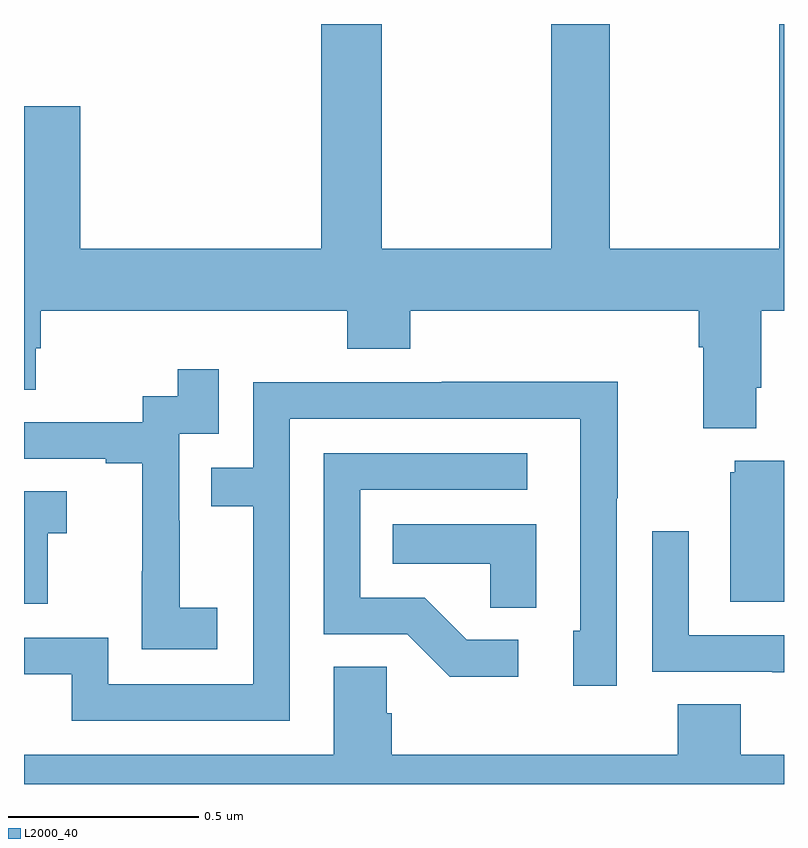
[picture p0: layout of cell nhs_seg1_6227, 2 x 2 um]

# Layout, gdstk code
import gdstk
lib = gdstk.Library(unit=1e-6, precision=1e-09)
def P(c, l, *ps):  # polygons
    for p in ps: c.add(gdstk.Polygon(p, *l))
L2000_40 = (2000, 40)

nhs_seg1_6227 = lib.new_cell('nhs_seg1_6227')
P(nhs_seg1_6227, L2000_40, [(190.927,506.242),(190.94,506.242),(190.94,506.444),(191,506.444),(191,507.199),(190.987,507.199),(190.987,506.608),(190.542,506.608),(190.542,507.199),(190.387,507.199),(190.387,506.608),(189.942,506.608),(189.942,507.199),(189.782,507.199),(189.782,506.608),(189.148,506.608),(189.148,506.983),(189,506.983),(189,506.236),(189.031,506.236),(189.031,506.346),(189.044,506.346),(189.044,506.444),(189.851,506.444),(189.851,506.345),(190.016,506.345),(190.016,506.444),(190.775,506.444),(190.775,506.348),(190.787,506.348),(190.787,506.135),(190.927,506.135)],
  [(189.508,505.663),(189.41,505.663),(189.41,505.892),(189.408,505.892),(189.408,506.121),(189.513,506.121),(189.513,506.29),(189.405,506.29),(189.405,506.22),(189.312,506.22),(189.312,506.151),(189,506.151),(189,506.055),(189.215,506.055),(189.215,506.043),(189.311,506.043),(189.311,505.759),(189.31,505.759),(189.31,505.553),(189.508,505.553)],
  [(189.699,506.16),(190.464,506.16),(190.464,505.602),(190.445,505.602),(190.445,505.458),(190.56,505.458),(190.56,505.951),(190.563,505.951),(190.563,506.258),(190.099,506.258),(190.099,506.256),(189.603,506.256),(189.603,506.031),(189.493,506.031),(189.493,505.93),(189.603,505.93),(189.603,505.461),(189.222,505.461),(189.222,505.584),(189,505.584),(189,505.488),(189.125,505.488),(189.125,505.365),(189.699,505.365)],
  [(190.3,505.578),(190.165,505.578),(190.054,505.689),(189.885,505.689),(189.885,505.974),(190.324,505.974),(190.324,506.07),(189.789,506.07),(189.789,505.593),(190.008,505.593),(190.121,505.481),(190.3,505.481)],
  [(191,506.05),(190.871,506.05),(190.871,506.019),(190.859,506.019),(190.859,505.679),(191,505.679)],
  [(189.063,505.859),(189.112,505.859),(189.112,505.969),(189,505.969),(189,505.674),(189.063,505.674)],
  [(190.348,505.882),(189.97,505.882),(189.97,505.778),(190.227,505.778),(190.227,505.663),(190.348,505.663)],
  [(191,505.59),(190.749,505.59),(190.749,505.864),(190.653,505.864),(190.653,505.494),(190.969,505.494),(190.969,505.493),(191,505.493)],
  [(191,505.276),(190.886,505.276),(190.886,505.409),(190.721,505.409),(190.721,505.276),(189.968,505.276),(189.968,505.385),(189.954,505.385),(189.954,505.508),(189.815,505.508),(189.815,505.276),(189,505.276),(189,505.199),(191,505.199)])

lib.write_gds('nhs_seg1_6227.gds')
